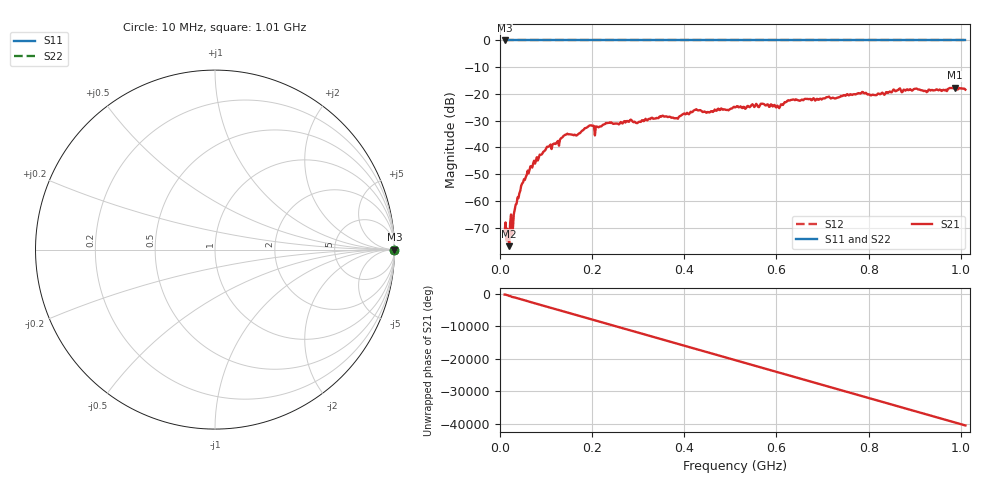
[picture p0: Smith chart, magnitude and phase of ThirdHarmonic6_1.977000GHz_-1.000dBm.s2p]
! 8/16/2025 11:46:48 PM
! C:\ANRITSUVNA\TEMP\TEMP.S2P
! CHANNEL.1
! TR.MEASUREMENT
! RAW.DATA
! RF.CORRECTION.OFF
! AVERAGING.OFF
! IF.BANDWIDTH: 5KHZ
! SWEEPTYPE:  FREQ.SWEEP(Linear)
! Reference Plane Port Info
! PORT:  PORT1  PORT2
! DISTANCE:  0  m  0  m
! TIME:  0  s  0  s
! PHASE.OFFSET:  0  deg.  0  deg.
! LOSS:  0  dB  0  dB
! REF.LOSS:  0  dB  0  dB
! REF.FREQ:  0  Hz  0  Hz
! Power Info
! POWER:  -20  dBm  -20  dBm
! EFF.POWER:  -20  dBm  -20  dBm
! SOURCE.ATTEN:  0  dB  0  dB
! TEST.ATTEN:  0  dB  0  dB
# GHZ S RI R 50.0
! FREQ.GHZ  S11RE  S11IM  S21RE  S21IM  S12RE  S12IM  S22RE  S22IM
!; PortSelection: Port_12
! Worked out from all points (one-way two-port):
!   501 points, 10 MHz to 1.01 GHz, reference 50 ohm
!   highest |S21| = -17.68 dB at 988 MHz (marker M1); lowest = -76.9 dB at 20 MHz (marker M2)
!   lowest |S11| = 0.0 dB at 10 MHz (marker M3)
!   |S11| at or under -10 dB: nowhere
!   |S22| runs from 0.0 to 0.0 dB; largest |S21 - S12| = 1.1
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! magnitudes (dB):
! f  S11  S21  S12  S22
! 10 MHz  0.0  -71.6  0.0  0.0
! 18 MHz  0.0  -72.8  0.0  0.0
! 20 MHz  0.0  -76.9  0.0  0.0
! 24 MHz  0.0  -65.1  0.0  0.0
! 34 MHz  0.0  -61.4  0.0  0.0
! 48 MHz  0.0  -53.5  0.0  0.0
! 76 MHz  0.0  -46.1  0.0  0.0
! 142 MHz  0.0  -35.2  0.0  0.0
! 178 MHz  0.0  -33.8  0.0  0.0
! 196 MHz  0.0  -31.7  0.0  0.0
! 210 MHz  0.0  -32.2  0.0  0.0
! 234 MHz  0.0  -30.9  0.0  0.0
! 344 MHz  0.0  -29.0  0.0  0.0
! 382 MHz  0.0  -29.1  0.0  0.0
! 424 MHz  0.0  -25.9  0.0  0.0
! 510 MHz  0.0  -25.0  0.0  0.0
! 602 MHz  0.0  -24.4  0.0  0.0
! 628 MHz  0.0  -22.5  0.0  0.0
! 678 MHz  0.0  -22.2  0.0  0.0
! 844 MHz  0.0  -19.4  0.0  0.0
! 988 MHz  0.0  -17.7  0.0  0.0
! 1.01 GHz  0.0  -18.4  0.0  0.0
